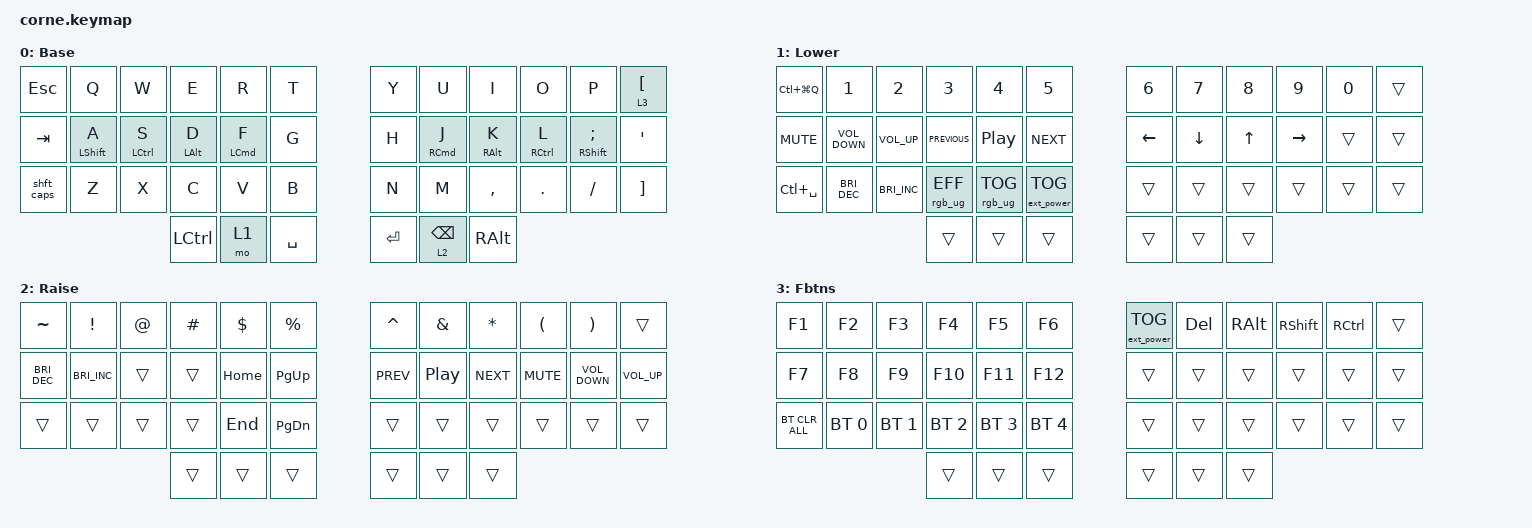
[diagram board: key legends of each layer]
/*
 * Copyright (c) 2020 The ZMK Contributors
 *
 * SPDX-License-Identifier: MIT
 */

#include <behaviors.dtsi>
#include <dt-bindings/zmk/bt.h>
#include <dt-bindings/zmk/ext_power.h>
#include <dt-bindings/zmk/keys.h>
#include <dt-bindings/zmk/rgb.h>

&led_strip {
    chain-length = <77>;
};

/ {
    combos {
        compatible = "zmk,combos";

        lpair_comb {
            bindings = <&kp LEFT_PARENTHESIS>;
            key-positions = <4 5>;
        };

        rpair_comb {
            bindings = <&kp RIGHT_PARENTHESIS>;
            key-positions = <7 6>;
        };

        lbkt_comb {
            bindings = <&kp LEFT_BRACKET>;
            key-positions = <16 17>;
        };

        rbkt_comb {
            bindings = <&kp RIGHT_BRACKET>;
            key-positions = <19 18>;
        };

        lbrc_comb {
            bindings = <&kp LEFT_BRACE>;
            key-positions = <28 29>;
        };

        rbrc_comb {
            bindings = <&kp RIGHT_BRACE>;
            key-positions = <31 30>;
        };

        cmb_pipe {
            bindings = <&kp PIPE>;
            key-positions = <19 20>;
        };

        cmb_backslash {
            bindings = <&kp BACKSLASH>;
            key-positions = <21 20>;
        };

        cmd_tilde {
            bindings = <&kp TILDE>;
            key-positions = <16 15>;
        };

        cmd_grave {
            bindings = <&kp GRAVE>;
            key-positions = <15 14>;
        };

        cmd_minus {
            bindings = <&kp MINUS>;
            key-positions = <31 32>;
        };

        cmd_uderscore {
            bindings = <&kp UNDERSCORE>;
            key-positions = <32 33>;
        };

        cmb_plus {
            bindings = <&kp PLUS>;
            key-positions = <28 27>;
        };

        cmb_asterisk {
            bindings = <&kp ASTERISK>;
            key-positions = <27 26>;
        };

        cmd_equal {
            bindings = <&kp EQUAL>;
            key-positions = <19 20 21>;
        };

        cmd_dolar {
            bindings = <&kp DOLLAR>;
            key-positions = <8 19>;
        };

        cmb_hash {
            bindings = <&kp CARET>;
            key-positions = <3 16>;
        };

        cmb_excl {
            bindings = <&kp EXCLAMATION>;
            key-positions = <15 16 14>;
        };

        hash_cmb {
            bindings = <&kp HASH>;
            key-positions = <3 4>;
        };

        percent_cmb {
            bindings = <&kp PERCENT>;
            key-positions = <7 8>;
        };

        ampersand_cmb {
            bindings = <&kp AMPERSAND>;
            key-positions = <8 9>;
        };

        at_cmb {
            bindings = <&kp AT_SIGN>;
            key-positions = <3 2>;
        };
    };

    behaviors {
        hml: hml {
            compatible = "zmk,behavior-hold-tap";
            label = "HML";
            bindings = <&kp>, <&kp>;

            #binding-cells = <2>;
            tapping-term-ms = <200>;
            quick-tap-ms = <175>;
            require-prior-idle-ms = <150>;
            hold-trigger-on-release;
            hold-trigger-key-positions = <0 1 2 3 4 5 12 13 14 15 16 17 24 25 26 27 28 29 36 37 38 39 40 41>;
            flavor = "balanced";
        };

        hmr: hmr {
            compatible = "zmk,behavior-hold-tap";
            label = "HMR";
            bindings = <&kp>, <&kp>;

            #binding-cells = <2>;
            tapping-term-ms = <200>;
            quick-tap-ms = <175>;
            require-prior-idle-ms = <150>;
            hold-trigger-on-release;
            hold-trigger-key-positions = <6 7 8 9 10 11 18 19 20 21 22 23 30 31 32 33 34 35 39 40 41 38 37 36>;
            flavor = "balanced";
        };

        shft_caps: shft_caps {
            compatible = "zmk,behavior-tap-dance";
            label = "SHFT_CAPS";
            #binding-cells = <0>;
            bindings = <&kp LEFT_SHIFT>, <&kp CAPSLOCK>;
        };

        bksp_layer: bksp_layer {
            compatible = "zmk,behavior-hold-tap";
            label = "BKSP_LAYER";
            bindings = <&mo>, <&kp>;

            #binding-cells = <2>;
            tapping-term-ms = <200>;
            quick-tap-ms = <175>;
            flavor = "balanced";
            retro-tap;
        };
    };

    keymap {
        compatible = "zmk,keymap";

        default_layer {
            display-name = "Base";

            // -----------------------------------------------------------------------------------------
            // |  TAB |  Q  |  W  |  E  |  R  |  T  |   |  Y  |  U   |  I  |  O  |  P  | BSPC |
            // | CTRL |  A  |  S  |  D  |  F  |  G  |   |  H  |  J   |  K  |  L  |  ;  |  '   |
            // | SHFT |  Z  |  X  |  C  |  V  |  B  |   |  N  |  M   |  ,  |  .  |  /  | ESC  |
            //                    | GUI | LWR | SPC |   | ENT | RSE  | ALT |

            bindings = <
&kp ESCAPE  &kp Q              &kp W                &kp E             &kp R                &kp T        &kp Y      &kp U                    &kp I             &kp O                 &kp P                  &lt 3 LEFT_BRACKET
&kp TAB     &hml LEFT_SHIFT A  &hml LEFT_CONTROL S  &hml LEFT_ALT D   &hml LEFT_COMMAND F  &kp G        &kp H      &hmr RIGHT_COMMAND J     &hmr RIGHT_ALT K  &hmr RIGHT_CONTROL L  &hmr RIGHT_SHIFT SEMI  &kp SQT
&shft_caps  &kp Z              &kp X                &kp C             &kp V                &kp B        &kp N      &kp M                    &kp COMMA         &kp DOT               &kp FSLH               &kp RIGHT_BRACKET
                                                    &kp LEFT_CONTROL  &mo 1                &kp SPACE    &kp ENTER  &bksp_layer 2 BACKSPACE  &kp RIGHT_ALT
            >;
        };

        lower_layer {
            display-name = "Lower";

            // -----------------------------------------------------------------------------------------
            // |  TAB |  1  |  2  |  3  |  4  |  5  |   |  6  |  7  |  8  |  9  |  0  | BSPC |
            // | BTCLR| BT1 | BT2 | BT3 | BT4 | BT5 |   | LFT | DWN |  UP | RGT |     |      |
            // | SHFT |     |     |     |     |     |   |     |     |     |     |     |      |
            //                    | GUI |     | SPC |   | ENT |     | ALT |

            bindings = <
&kp LC(LG(Q))  &kp N1                &kp N2                &kp N3           &kp N4            &kp N5               &kp N6    &kp N7    &kp N8  &kp N9     &kp N0  &trans
&kp K_MUTE     &kp C_VOLUME_DOWN     &kp C_VOLUME_UP       &kp C_PREVIOUS   &kp C_PLAY_PAUSE  &kp C_NEXT           &kp LEFT  &kp DOWN  &kp UP  &kp RIGHT  &trans  &trans
&kp LC(SPACE)  &kp C_BRIGHTNESS_DEC  &kp C_BRIGHTNESS_INC  &rgb_ug RGB_EFF  &rgb_ug RGB_TOG   &ext_power EP_TOG    &trans    &trans    &trans  &trans     &trans  &trans
                                                           &trans           &trans            &trans               &trans    &trans    &trans
            >;
        };

        raise_layer {
            display-name = "Raise";

            // -----------------------------------------------------------------------------------------
            // |  TAB |  !  |  @  |  #  |  $  |  %  |   |  ^  |  &  |  *  |  (  |  )  | BSPC |
            // | CTRL |     |     |     |     |     |   |  -  |  =  |  [  |  ]  |  \  |  `   |
            // | SHFT |     |     |     |     |     |   |  _  |  +  |  {  |  }  | "|" |  ~   |
            //                    | GUI |     | SPC |   | ENT |     | ALT |

            bindings = <
&kp TILDE             &kp EXCL              &kp AT  &kp HASH  &kp DLLR  &kp PRCNT        &kp CARET   &kp AMPS  &kp ASTRK   &kp LPAR    &kp RPAR           &trans
&kp C_BRIGHTNESS_DEC  &kp C_BRIGHTNESS_INC  &trans  &trans    &kp HOME  &kp PAGE_UP      &kp C_PREV  &kp C_PP  &kp C_NEXT  &kp K_MUTE  &kp C_VOLUME_DOWN  &kp C_VOLUME_UP
&trans                &trans                &trans  &trans    &kp END   &kp PAGE_DOWN    &trans      &trans    &trans      &trans      &trans             &trans
                                                    &trans    &trans    &trans           &trans      &trans    &trans
            >;
        };

        fbtn_layer {
            display-name = "Fbtns";
            bindings = <
&kp F1          &kp F2        &kp F3        &kp F4        &kp F5        &kp F6          &ext_power EP_TOG  &kp DELETE  &kp RALT  &kp RSHFT  &kp RCTRL  &trans
&kp F7          &kp F8        &kp F9        &kp F10       &kp F11       &kp F12         &trans             &trans      &trans    &trans     &trans     &trans
&bt BT_CLR_ALL  &bt BT_SEL 0  &bt BT_SEL 1  &bt BT_SEL 2  &bt BT_SEL 3  &bt BT_SEL 4    &trans             &trans      &trans    &trans     &trans     &trans
                                            &trans        &trans        &trans          &trans             &trans      &trans
            >;
        };
    };
};
